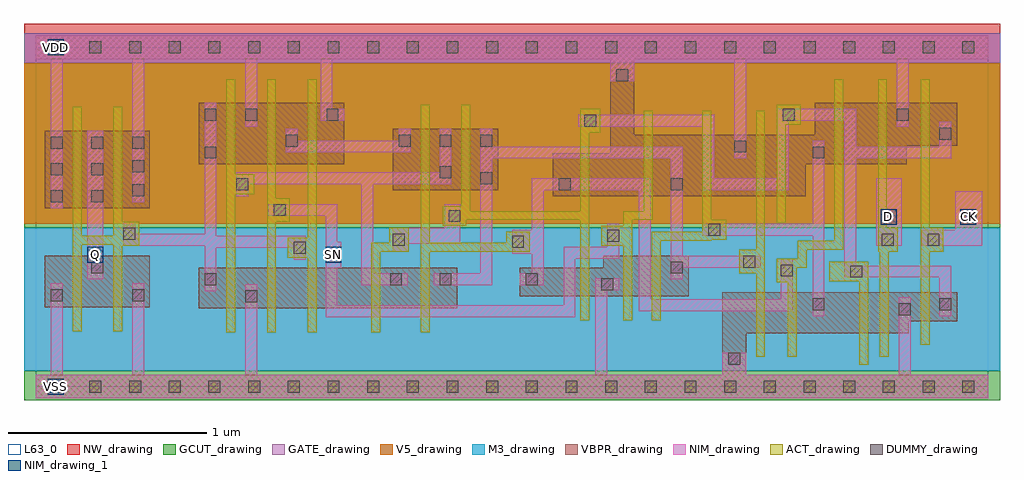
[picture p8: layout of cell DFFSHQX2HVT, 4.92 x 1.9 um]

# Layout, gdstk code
import gdstk
lib = gdstk.Library(unit=1e-6, precision=5e-10)
def R(c, l, rs):  # rectangles x0, y0, x1, y1
    for r in rs: c.add(gdstk.rectangle(r[:2], r[2:], *l))
def A(c, l, x, y, w, h, nx, ny, dx, dy):  # array of equal rectangles
    R(c, l, [(x+i*dx, y+j*dy, x+i*dx+w, y+j*dy+h) for i in range(nx) for j in range(ny)])
def P(c, l, *ps):  # polygons
    for p in ps: c.add(gdstk.Polygon(p, *l))
VBPR_drawing = (1, 0)
NW_drawing = (2, 0)
ACT_drawing = (3, 0)
GATE_drawing = (4, 0)
GCUT_drawing = (5, 0)
DUMMY_drawing = (6, 0)
NIM_drawing = (7, 0)
NIM_drawing_1 = (7, 1)
M3_drawing = (18, 0)
V5_drawing = (23, 0)
L63_0 = (63, 0)

dffshqx2hvt = lib.new_cell('DFFSHQX2HVT')
R(dffshqx2hvt, VBPR_drawing, [(0,-0.06,4.8,0.06), (0.82,0.395,2.125,0.6), (0.045,0.4,0.575,0.66), (0.045,0.9,0.575,1.29), (1.8,0.99,2.33,1.3), (0.82,1.12,1.555,1.43), (0,1.65,4.8,1.77)])
P(dffshqx2hvt, VBPR_drawing, [(4.645,1.43),(3.925,1.43),(3.925,1.27),(3.015,1.27),(3.015,1.65),(2.895,1.65),(2.895,1.175),(2.605,1.175),(2.605,0.96),(3.88,0.96),(3.88,1.12),(4.39,1.12),(4.39,1.215),(4.645,1.215)],
  [(2.86,0.66),(3.29,0.66),(3.29,0.455),(2.44,0.455),(2.44,0.6),(2.86,0.6)],
  [(4.645,0.475),(3.46,0.475),(3.46,0.06),(3.58,0.06),(3.58,0.27),(4.4,0.27),(4.4,0.33),(4.645,0.33)])
R(dffshqx2hvt, NW_drawing, [(-0.06,0.82,4.86,1.83)])
P(dffshqx2hvt, ACT_drawing, [(0.96,1.55),(1.005,1.55),(1.005,1.07),(1.1,1.07),(1.1,0.97),(1.005,0.97),(1.005,0.275),(0.96,0.275)],
  [(1.165,1.55),(1.21,1.55),(1.21,0.95),(1.28,0.95),(1.28,0.83),(1.21,0.83),(1.21,0.275),(1.165,0.275)],
  [(1.37,1.55),(1.415,1.55),(1.415,0.275),(1.37,0.275),(1.37,0.65),(1.27,0.65),(1.27,0.75),(1.37,0.75)],
  [(1.94,1.42),(1.985,1.42),(1.985,0.725),(2.37,0.725),(2.37,0.78),(2.49,0.78),(2.49,0.68),(1.985,0.68),(1.985,0.275),(1.94,0.275)],
  [(2.145,1.42),(2.19,1.42),(2.19,0.885),(2.745,0.885),(2.745,1.4),(2.845,1.4),(2.845,1.28),(2.79,1.28),(2.79,0.335),(2.745,0.335),(2.745,0.84),(2.17,0.84),(2.17,0.81),(2.05,0.81),(2.05,0.91),(2.145,0.91)],
  [(0.185,1.41),(0.23,1.41),(0.23,0.76),(0.39,0.76),(0.39,1.41),(0.435,1.41),(0.435,0.83),(0.52,0.83),(0.52,0.71),(0.435,0.71),(0.435,0.28),(0.39,0.28),(0.39,0.715),(0.23,0.715),(0.23,0.28),(0.185,0.28)],
  [(3.735,1.42),(3.855,1.42),(3.855,1.32),(3.78,1.32),(3.78,0.825),(3.735,0.825)],
  [(3.065,1.39),(3.11,1.39),(3.11,0.84),(3.005,0.84),(3.005,0.335),(2.96,0.335),(2.96,0.71),(2.85,0.71),(2.85,0.81),(2.96,0.81),(2.96,0.885),(3.065,0.885)],
  [(3.36,1.39),(3.405,1.39),(3.405,0.84),(3.48,0.84),(3.48,0.74),(3.405,0.74),(3.405,0.735),(3.15,0.735),(3.15,0.335),(3.105,0.335),(3.105,0.78),(3.36,0.78)],
  [(3.63,1.39),(3.675,1.39),(3.675,0.15),(3.63,0.15),(3.63,0.57),(3.545,0.57),(3.545,0.69),(3.63,0.69)],
  [(4.025,1.55),(4.07,1.55),(4.07,0.69),(3.885,0.69),(3.885,0.6),(3.835,0.6),(3.835,0.15),(3.79,0.15),(3.79,0.525),(3.735,0.525),(3.735,0.645),(3.84,0.645),(3.84,0.735),(4.025,0.735)],
  [(4.245,1.55),(4.29,1.55),(4.29,0.8),(4.345,0.8),(4.345,0.68),(4.3,0.68),(4.3,0.15),(4.255,0.15),(4.255,0.68),(4.245,0.68)],
  [(4.46,1.55),(4.505,1.55),(4.505,0.8),(4.575,0.8),(4.575,0.68),(4.505,0.68),(4.505,0.21),(4.46,0.21)],
  [(1.78,0.8),(1.88,0.8),(1.88,0.68),(1.735,0.68),(1.735,0.275),(1.69,0.275),(1.69,0.725),(1.78,0.725)],
  [(4,0.63),(4.195,0.63),(4.195,0.11),(4.15,0.11),(4.15,0.53),(4,0.53)])
R(dffshqx2hvt, GATE_drawing, [(-0.06,0.08,4.86,0.8), (-0.06,1.63,4.86,1.78)])
R(dffshqx2hvt, GCUT_drawing, [(-0.06,-0.07,4.86,0.08), (-0.06,0.8,4.86,1.63)])
A(dffshqx2hvt, DUMMY_drawing, 0.07, -0.03, 0.06, 0.06, 24, 2, 0.2, 1.71)
A(dffshqx2hvt, DUMMY_drawing, 0.075, 1.2, 0.06, 0.06, 3, 1, 0.205, 0)
A(dffshqx2hvt, DUMMY_drawing, 1.83, 1.21, 0.06, 0.06, 3, 1, 0.205, 0)
R(dffshqx2hvt, DUMMY_drawing, [(3.49,0.11,3.55,0.17), (4.35,0.36,4.41,0.42), (3.915,0.385,3.975,0.445), (4.555,0.385,4.615,0.445), (1.055,0.425,1.115,0.485), (0.075,0.43,0.135,0.49), (0.485,0.43,0.545,0.49), (2.85,0.485,2.91,0.545), (0.85,0.51,0.91,0.57), (1.785,0.51,1.845,0.57), (2.035,0.51,2.095,0.57), (2.47,0.51,2.53,0.57), (4.105,0.55,4.165,0.61), (3.755,0.555,3.815,0.615), (0.28,0.57,0.34,0.63), (3.2,0.57,3.26,0.63), (3.565,0.6,3.625,0.66), (1.3,0.67,1.36,0.73), (2.4,0.7,2.46,0.76), (1.8,0.71,1.86,0.77), (4.265,0.71,4.325,0.77), (4.495,0.71,4.555,0.77), (2.88,0.73,2.94,0.79), (0.44,0.74,0.5,0.8), (3.39,0.76,3.45,0.82), (2.08,0.83,2.14,0.89), (1.2,0.86,1.26,0.92), (0.075,0.93,0.135,0.99), (0.28,0.93,0.34,0.99), (0.485,0.96,0.545,1.02), (1.01,0.99,1.07,1.05), (2.635,0.99,2.695,1.05), (3.2,0.99,3.26,1.05), (2.24,1.02,2.3,1.08), (2.035,1.05,2.095,1.11), (0.075,1.065,0.135,1.125), (0.28,1.065,0.34,1.125), (0.485,1.08,0.545,1.14), (0.85,1.15,0.91,1.21), (3.915,1.15,3.975,1.21), (3.52,1.18,3.58,1.24), (1.26,1.21,1.32,1.27), (4.555,1.245,4.615,1.305), (2.765,1.31,2.825,1.37), (0.85,1.34,0.91,1.4), (1.055,1.34,1.115,1.4), (1.465,1.34,1.525,1.4), (3.765,1.34,3.825,1.4), (4.34,1.34,4.4,1.4), (2.925,1.54,2.985,1.6)])
R(dffshqx2hvt, NIM_drawing, [(0.075,0.06,0.135,0.52), (0.485,0.06,0.545,0.52), (1.055,0.06,1.115,0.515), (3.46,0.06,3.58,0.17), (4.35,0.06,4.41,0.45), (0.26,0.54,0.34,1.29), (4.235,0.71,4.365,1.05), (0.075,0.9,0.135,1.65), (0.485,0.93,0.545,1.65), (3.52,1.15,3.58,1.65), (1.055,1.31,1.115,1.65), (4.34,1.31,4.4,1.65), (2.895,1.54,3.015,1.65)])
P(dffshqx2hvt, NIM_drawing, [(1.555,1.4),(1.495,1.4),(1.495,1.65),(1.435,1.65),(1.435,1.34),(1.555,1.34)],
  [(2.94,0.545),(2.82,0.545),(2.82,0.06),(2.88,0.06),(2.88,0.485),(2.94,0.485)],
  [(0.44,0.83),(0.5,0.83),(0.5,0.77),(0.85,0.77),(0.85,1.43),(0.91,1.43),(0.91,0.76),(1.36,0.76),(1.36,0.64),(1.3,0.64),(1.3,0.7),(0.91,0.7),(0.91,0.48),(0.85,0.48),(0.85,0.71),(0.44,0.71)],
  [(1.26,1.3),(1.32,1.3),(1.32,1.24),(1.83,1.24),(1.83,1.3),(1.89,1.3),(1.89,1.18),(1.26,1.18)],
  [(2.035,1.3),(2.095,1.3),(2.095,1.02),(1.7,1.02),(1.7,0.57),(1.875,0.57),(1.875,0.51),(1.64,0.51),(1.64,1.02),(1.07,1.02),(1.07,0.96),(1.01,0.96),(1.01,1.08),(2.035,1.08)],
  [(2.24,1.3),(2.3,1.3),(2.3,1.21),(3.26,1.21),(3.26,0.66),(3.655,0.66),(3.655,0.6),(3.26,0.6),(3.26,0.54),(3.2,0.54),(3.2,1.15),(2.3,1.15),(2.3,0.51),(2.005,0.51),(2.005,0.57),(2.24,0.57)],
  [(2.735,1.37),(3.42,1.37),(3.42,1.05),(3.735,1.05),(3.735,1.4),(4.135,1.4),(4.135,1.21),(4.555,1.21),(4.555,1.335),(4.615,1.335),(4.615,1.15),(4.135,1.15),(4.135,0.61),(4.615,0.61),(4.615,0.355),(4.555,0.355),(4.555,0.55),(4.075,0.55),(4.075,1.34),(3.795,1.34),(3.795,0.99),(3.36,0.99),(3.36,1.31),(2.735,1.31)],
  [(1.17,0.92),(1.52,0.92),(1.52,0.73),(1.54,0.73),(1.54,0.6),(1.52,0.6),(1.52,0.41),(2.66,0.41),(2.66,0.705),(2.88,0.705),(2.88,0.82),(2.94,0.82),(2.94,0.645),(2.72,0.645),(2.72,0.35),(1.46,0.35),(1.46,0.86),(1.17,0.86)],
  [(2.06,0.92),(2.14,0.92),(2.14,0.72),(1.88,0.72),(1.88,0.68),(1.8,0.68),(1.8,0.8),(2.06,0.8)],
  [(2.5,1.05),(3.1,1.05),(3.1,0.44),(3.755,0.44),(3.755,0.645),(3.815,0.645),(3.815,0.38),(3.04,0.38),(3.04,0.99),(2.56,0.99),(2.56,0.51),(2.44,0.51),(2.44,0.57),(2.5,0.57),(2.5,0.67),(2.4,0.67),(2.4,0.79),(2.5,0.79)],
  [(3.915,1.24),(3.975,1.24),(3.975,0.355),(3.915,0.355),(3.915,0.76),(3.36,0.76),(3.36,0.82),(3.915,0.82)],
  [(4.635,0.985),(4.77,0.985),(4.77,0.71),(4.465,0.71),(4.465,0.79),(4.635,0.79)])
R(dffshqx2hvt, NIM_drawing_1, [(0.06,-0.04,0.14,0.04), (0.26,0.625,0.34,0.705), (1.46,0.625,1.54,0.705), (4.26,0.815,4.34,0.895), (4.66,0.815,4.74,0.895), (0.06,1.67,0.14,1.75)])
R(dffshqx2hvt, M3_drawing, [(-0.06,0.08,4.86,0.8)])
R(dffshqx2hvt, V5_drawing, [(-0.06,0.82,4.86,1.63)])
R(dffshqx2hvt, L63_0, [(0,0,4.8,1.71)])
dffshqx2hvt.add(gdstk.FlexPath([(0,0),(4.8,0)], 0.12, ends="flush", simple_path=True, layer=7, datatype=0))  # NIM_drawing
dffshqx2hvt.add(gdstk.FlexPath([(0,1.71),(4.8,1.71)], 0.12, ends="flush", simple_path=True, layer=7, datatype=0))  # NIM_drawing
dffshqx2hvt.add(gdstk.Label('Q', (0.3,0.665), layer=7, texttype=1))
dffshqx2hvt.add(gdstk.Label('CK', (4.7,0.855), layer=7, texttype=1))
dffshqx2hvt.add(gdstk.Label('D', (4.3,0.855), layer=7, texttype=1))
dffshqx2hvt.add(gdstk.Label('SN', (1.5,0.665), layer=7, texttype=1))
dffshqx2hvt.add(gdstk.Label('VDD', (0.1,1.71), layer=7, texttype=1))
dffshqx2hvt.add(gdstk.Label('VSS', (0.1,0), layer=7, texttype=1))
dffshqx2hvt.add(gdstk.Label('VSS', (0.1,0), layer=7, texttype=1))
dffshqx2hvt.add(gdstk.Label('VDD', (0.1,1.71), layer=7, texttype=1))
dffshqx2hvt.add(gdstk.Label('SN', (1.5,0.665), layer=7, texttype=1))
dffshqx2hvt.add(gdstk.Label('D', (4.3,0.855), layer=7, texttype=1))
dffshqx2hvt.add(gdstk.Label('CK', (4.7,0.855), layer=7, texttype=1))
dffshqx2hvt.add(gdstk.Label('Q', (0.3,0.665), layer=7, texttype=1))
dffshqx2hvt.add(gdstk.Label('DFFSHQX2', (0,0), layer=63, texttype=0))

lib.write_gds('DFFSHQX2HVT.gds')
